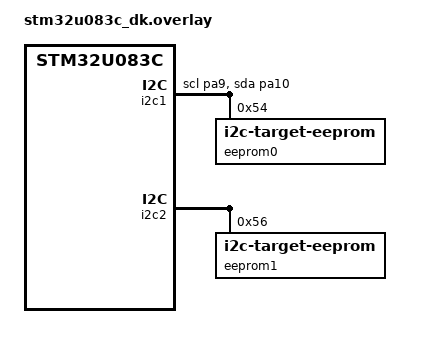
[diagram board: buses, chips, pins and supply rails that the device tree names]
/*
 * Copyright (c) 2024 STMicroelectronics
 * SPDX-License-Identifier: Apache-2.0
 */

/* I2C bus pins are exposed on the ST morpho header.
 *
 *  Bus        SDA               SCL
 *          Pin   Hdr         Pin   Hdr
 *  i2c1    PA10  CN10:2      PA9   CN7:23
 *  i2c2    PA6   CN10:15     PA7   CN10:17
 *
 * Short Pin PA10 to PA6, and PA9 to PA7, for the test to pass.
 */

#define IC2_TEST_0_DMA_TX <&dmamux1 0 10 STM32_DMA_PERIPH_TX>
#define IC2_TEST_0_DMA_RX <&dmamux1 1 9 STM32_DMA_PERIPH_RX>

i2c_test_0: &i2c1 {
	pinctrl-0 = <&i2c1_scl_pa9 &i2c1_sda_pa10>;
	scl-gpios = <&gpioa 9 GPIO_ACTIVE_HIGH>;
	sda-gpios = <&gpioa 10 GPIO_ACTIVE_HIGH>;
	dmas = IC2_TEST_0_DMA_TX, IC2_TEST_0_DMA_RX;
	dma-names = "tx", "rx";

	eeprom0: eeprom@54 {
		compatible = "zephyr,i2c-target-eeprom";
		reg = <0x54>;
		size = <256>;
	};
};

#define IC2_TEST_1_DMA_TX <&dmamux1 2 12 STM32_DMA_PERIPH_TX>
#define IC2_TEST_1_DMA_RX <&dmamux1 3 11 STM32_DMA_PERIPH_RX>

i2c_test_1: &i2c2 {
	dmas = IC2_TEST_1_DMA_TX, IC2_TEST_1_DMA_RX;
	dma-names = "tx", "rx";

	eeprom1: eeprom@56 {
		compatible = "zephyr,i2c-target-eeprom";
		reg = <0x56>;
		size = <256>;
	};
};

&dma1 {
	status = "okay";
};

&dma2 {
	status = "okay";
};

&dmamux1 {
	status = "okay";
};
